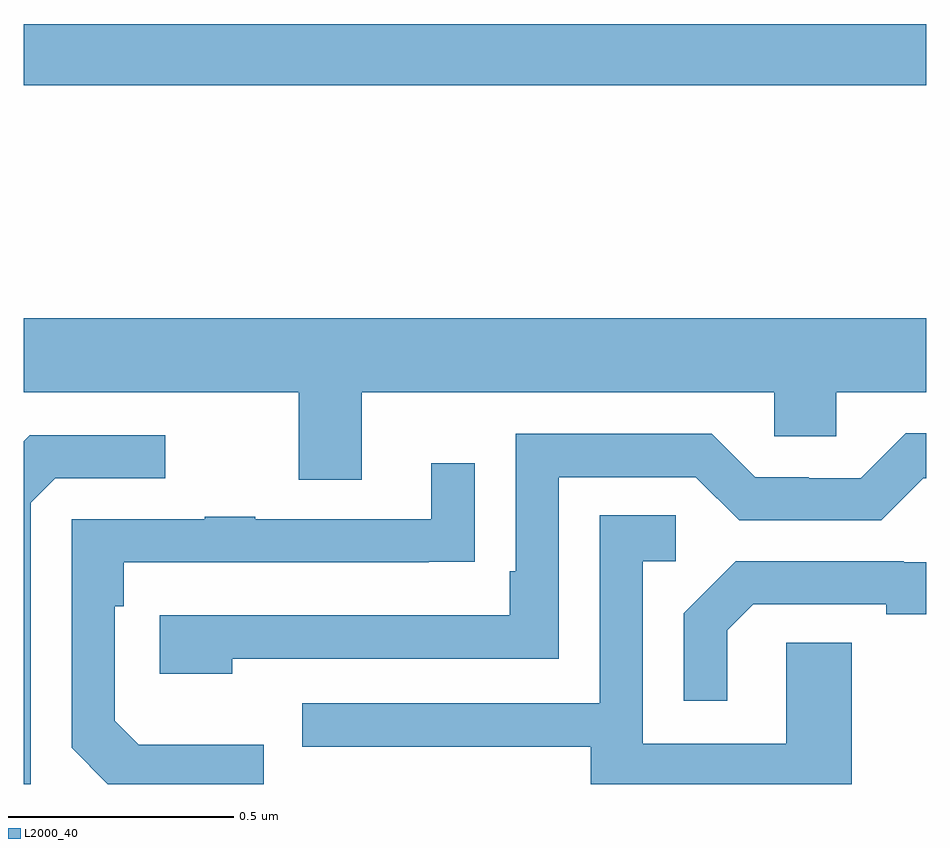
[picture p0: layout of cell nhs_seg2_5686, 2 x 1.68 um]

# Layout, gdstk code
import gdstk
lib = gdstk.Library(unit=1e-6, precision=1e-09)
def R(c, l, rs):  # rectangles x0, y0, x1, y1
    for r in rs: c.add(gdstk.rectangle(r[:2], r[2:], *l))
def P(c, l, *ps):  # polygons
    for p in ps: c.add(gdstk.Polygon(p, *l))
L2000_40 = (2000, 40)

nhs_seg2_5686 = lib.new_cell('nhs_seg2_5686')
R(nhs_seg2_5686, L2000_40, [(182,616.348,184,616.484)])
P(nhs_seg2_5686, L2000_40, [(182.749,615.668),(183.663,615.668),(183.663,615.57),(183.801,615.57),(183.801,615.668),(184,615.668),(184,615.832),(182,615.832),(182,615.668),(182.609,615.668),(182.609,615.474),(182.749,615.474)],
  [(182.462,615.078),(183.186,615.078),(183.186,615.48),(183.489,615.48),(183.585,615.384),(183.9,615.384),(183.993,615.477),(184,615.477),(184,615.577),(183.955,615.577),(183.855,615.477),(183.74,615.477),(183.74,615.48),(183.621,615.48),(183.525,615.576),(183.09,615.576),(183.09,615.271),(183.077,615.271),(183.077,615.174),(182.301,615.174),(182.301,615.044),(182.462,615.044)],
  [(182.016,615.423),(182.07,615.477),(182.314,615.477),(182.314,615.573),(182.013,615.573),(182,615.56),(182,614.8),(182.016,614.8)],
  [(182.532,614.887),(182.255,614.887),(182.202,614.94),(182.202,615.194),(182.222,615.194),(182.222,615.291),(182.897,615.291),(182.897,615.292),(182.999,615.292),(182.999,615.511),(182.903,615.511),(182.903,615.387),(182.513,615.387),(182.513,615.392),(182.401,615.392),(182.401,615.387),(182.106,615.387),(182.106,614.88),(182.186,614.8),(182.532,614.8)],
  [(183.835,615.113),(183.69,615.113),(183.69,614.889),(183.372,614.889),(183.372,615.294),(183.445,615.294),(183.445,615.395),(183.276,615.395),(183.276,614.979),(182.617,614.979),(182.617,614.883),(183.257,614.883),(183.257,614.8),(183.835,614.8)],
  [(183.559,615.141),(183.616,615.198),(183.911,615.198),(183.911,615.176),(184,615.176),(184,615.291),(183.95,615.291),(183.95,615.294),(183.578,615.294),(183.462,615.178),(183.462,614.985),(183.559,614.985)])

lib.write_gds('nhs_seg2_5686.gds')
